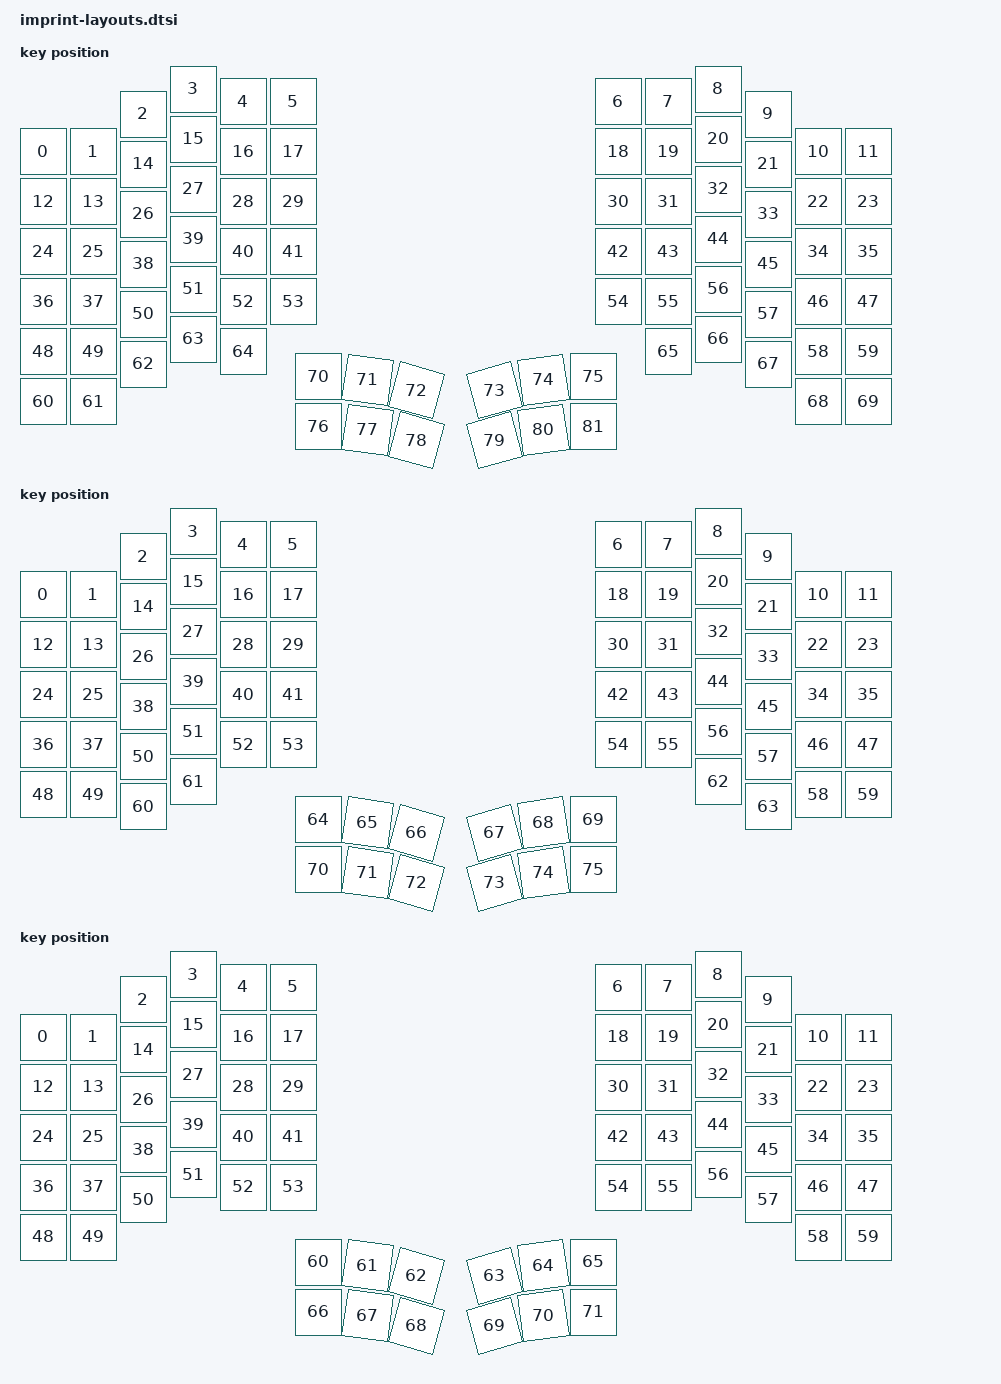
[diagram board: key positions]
#include <physical_layouts.dtsi>
/ {
    physical_layout_imprint_function_row_full_bottom_row: physical_layout_0 {
        compatible = "zmk,physical-layout";
        display-name = "Imprint Function Row (5-Key Bottom Row)";
        kscan = <&kscan0>;
        transform = <&imprint_function_row_full_bottom_row>;

        keys  //                     w   h    x    y     rot    rx    ry
            = <&key_physical_attrs 100 100    0  125       0     0     0>
            , <&key_physical_attrs 100 100  100  125       0     0     0>
            , <&key_physical_attrs 100 100  200   50       0     0     0>
            , <&key_physical_attrs 100 100  300    0       0     0     0>
            , <&key_physical_attrs 100 100  400   25       0     0     0>
            , <&key_physical_attrs 100 100  500   25       0     0     0>
            , <&key_physical_attrs 100 100 1150   25       0     0     0>
            , <&key_physical_attrs 100 100 1250   25       0     0     0>
            , <&key_physical_attrs 100 100 1350    0       0     0     0>
            , <&key_physical_attrs 100 100 1450   50       0     0     0>
            , <&key_physical_attrs 100 100 1550  125       0     0     0>
            , <&key_physical_attrs 100 100 1650  125       0     0     0>
            , <&key_physical_attrs 100 100    0  225       0     0     0>
            , <&key_physical_attrs 100 100  100  225       0     0     0>
            , <&key_physical_attrs 100 100  200  150       0     0     0>
            , <&key_physical_attrs 100 100  300  100       0     0     0>
            , <&key_physical_attrs 100 100  400  125       0     0     0>
            , <&key_physical_attrs 100 100  500  125       0     0     0>
            , <&key_physical_attrs 100 100 1150  125       0     0     0>
            , <&key_physical_attrs 100 100 1250  125       0     0     0>
            , <&key_physical_attrs 100 100 1350  100       0     0     0>
            , <&key_physical_attrs 100 100 1450  150       0     0     0>
            , <&key_physical_attrs 100 100 1550  225       0     0     0>
            , <&key_physical_attrs 100 100 1650  225       0     0     0>
            , <&key_physical_attrs 100 100    0  325       0     0     0>
            , <&key_physical_attrs 100 100  100  325       0     0     0>
            , <&key_physical_attrs 100 100  200  250       0     0     0>
            , <&key_physical_attrs 100 100  300  200       0     0     0>
            , <&key_physical_attrs 100 100  400  225       0     0     0>
            , <&key_physical_attrs 100 100  500  225       0     0     0>
            , <&key_physical_attrs 100 100 1150  225       0     0     0>
            , <&key_physical_attrs 100 100 1250  225       0     0     0>
            , <&key_physical_attrs 100 100 1350  200       0     0     0>
            , <&key_physical_attrs 100 100 1450  250       0     0     0>
            , <&key_physical_attrs 100 100 1550  325       0     0     0>
            , <&key_physical_attrs 100 100 1650  325       0     0     0>
            , <&key_physical_attrs 100 100    0  425       0     0     0>
            , <&key_physical_attrs 100 100  100  425       0     0     0>
            , <&key_physical_attrs 100 100  200  350       0     0     0>
            , <&key_physical_attrs 100 100  300  300       0     0     0>
            , <&key_physical_attrs 100 100  400  325       0     0     0>
            , <&key_physical_attrs 100 100  500  325       0     0     0>
            , <&key_physical_attrs 100 100 1150  325       0     0     0>
            , <&key_physical_attrs 100 100 1250  325       0     0     0>
            , <&key_physical_attrs 100 100 1350  300       0     0     0>
            , <&key_physical_attrs 100 100 1450  350       0     0     0>
            , <&key_physical_attrs 100 100 1550  425       0     0     0>
            , <&key_physical_attrs 100 100 1650  425       0     0     0>
            , <&key_physical_attrs 100 100    0  525       0     0     0>
            , <&key_physical_attrs 100 100  100  525       0     0     0>
            , <&key_physical_attrs 100 100  200  450       0     0     0>
            , <&key_physical_attrs 100 100  300  400       0     0     0>
            , <&key_physical_attrs 100 100  400  425       0     0     0>
            , <&key_physical_attrs 100 100  500  425       0     0     0>
            , <&key_physical_attrs 100 100 1150  425       0     0     0>
            , <&key_physical_attrs 100 100 1250  425       0     0     0>
            , <&key_physical_attrs 100 100 1350  400       0     0     0>
            , <&key_physical_attrs 100 100 1450  450       0     0     0>
            , <&key_physical_attrs 100 100 1550  525       0     0     0>
            , <&key_physical_attrs 100 100 1650  525       0     0     0>
            , <&key_physical_attrs 100 100    0  625       0     0     0>
            , <&key_physical_attrs 100 100  100  625       0     0     0>
            , <&key_physical_attrs 100 100  200  550       0     0     0>
            , <&key_physical_attrs 100 100  300  500       0     0     0>
            , <&key_physical_attrs 100 100  400  525       0     0     0>
            , <&key_physical_attrs 100 100 1250  525       0     0     0>
            , <&key_physical_attrs 100 100 1350  500       0     0     0>
            , <&key_physical_attrs 100 100 1450  550       0     0     0>
            , <&key_physical_attrs 100 100 1550  625       0     0     0>
            , <&key_physical_attrs 100 100 1650  625       0     0     0>
            , <&key_physical_attrs 100 100  550  575       0     0     0>
            , <&key_physical_attrs 100 100  550  575     800   600  1340>
            , <&key_physical_attrs 100 100  550  575    1600   600  1340>
            , <&key_physical_attrs 100 100 1100  575 (-1600)  1150  1340>
            , <&key_physical_attrs 100 100 1100  575  (-800)  1150  1340>
            , <&key_physical_attrs 100 100 1100  575       0     0     0>
            , <&key_physical_attrs 100 100  550  675       0     0     0>
            , <&key_physical_attrs 100 100  550  675     800   600  1440>
            , <&key_physical_attrs 100 100  550  675    1600   600  1440>
            , <&key_physical_attrs 100 100 1100  675 (-1600)  1150  1440>
            , <&key_physical_attrs 100 100 1100  675  (-800)  1150  1440>
            , <&key_physical_attrs 100 100 1100  675       0     0     0>
            ;
    };

    physical_layout_imprint_function_row: physical_layout_1 {
        compatible = "zmk,physical-layout";
        display-name = "Imprint Function Row (2-Key Bottom Row)";
        kscan = <&kscan0>;
        transform = <&imprint_function_row>;

        keys  //                     w   h    x    y     rot    rx    ry
            = <&key_physical_attrs 100 100    0  125       0     0     0>
            , <&key_physical_attrs 100 100  100  125       0     0     0>
            , <&key_physical_attrs 100 100  200   50       0     0     0>
            , <&key_physical_attrs 100 100  300    0       0     0     0>
            , <&key_physical_attrs 100 100  400   25       0     0     0>
            , <&key_physical_attrs 100 100  500   25       0     0     0>
            , <&key_physical_attrs 100 100 1150   25       0     0     0>
            , <&key_physical_attrs 100 100 1250   25       0     0     0>
            , <&key_physical_attrs 100 100 1350    0       0     0     0>
            , <&key_physical_attrs 100 100 1450   50       0     0     0>
            , <&key_physical_attrs 100 100 1550  125       0     0     0>
            , <&key_physical_attrs 100 100 1650  125       0     0     0>
            , <&key_physical_attrs 100 100    0  225       0     0     0>
            , <&key_physical_attrs 100 100  100  225       0     0     0>
            , <&key_physical_attrs 100 100  200  150       0     0     0>
            , <&key_physical_attrs 100 100  300  100       0     0     0>
            , <&key_physical_attrs 100 100  400  125       0     0     0>
            , <&key_physical_attrs 100 100  500  125       0     0     0>
            , <&key_physical_attrs 100 100 1150  125       0     0     0>
            , <&key_physical_attrs 100 100 1250  125       0     0     0>
            , <&key_physical_attrs 100 100 1350  100       0     0     0>
            , <&key_physical_attrs 100 100 1450  150       0     0     0>
            , <&key_physical_attrs 100 100 1550  225       0     0     0>
            , <&key_physical_attrs 100 100 1650  225       0     0     0>
            , <&key_physical_attrs 100 100    0  325       0     0     0>
            , <&key_physical_attrs 100 100  100  325       0     0     0>
            , <&key_physical_attrs 100 100  200  250       0     0     0>
            , <&key_physical_attrs 100 100  300  200       0     0     0>
            , <&key_physical_attrs 100 100  400  225       0     0     0>
            , <&key_physical_attrs 100 100  500  225       0     0     0>
            , <&key_physical_attrs 100 100 1150  225       0     0     0>
            , <&key_physical_attrs 100 100 1250  225       0     0     0>
            , <&key_physical_attrs 100 100 1350  200       0     0     0>
            , <&key_physical_attrs 100 100 1450  250       0     0     0>
            , <&key_physical_attrs 100 100 1550  325       0     0     0>
            , <&key_physical_attrs 100 100 1650  325       0     0     0>
            , <&key_physical_attrs 100 100    0  425       0     0     0>
            , <&key_physical_attrs 100 100  100  425       0     0     0>
            , <&key_physical_attrs 100 100  200  350       0     0     0>
            , <&key_physical_attrs 100 100  300  300       0     0     0>
            , <&key_physical_attrs 100 100  400  325       0     0     0>
            , <&key_physical_attrs 100 100  500  325       0     0     0>
            , <&key_physical_attrs 100 100 1150  325       0     0     0>
            , <&key_physical_attrs 100 100 1250  325       0     0     0>
            , <&key_physical_attrs 100 100 1350  300       0     0     0>
            , <&key_physical_attrs 100 100 1450  350       0     0     0>
            , <&key_physical_attrs 100 100 1550  425       0     0     0>
            , <&key_physical_attrs 100 100 1650  425       0     0     0>
            , <&key_physical_attrs 100 100    0  525       0     0     0>
            , <&key_physical_attrs 100 100  100  525       0     0     0>
            , <&key_physical_attrs 100 100  200  450       0     0     0>
            , <&key_physical_attrs 100 100  300  400       0     0     0>
            , <&key_physical_attrs 100 100  400  425       0     0     0>
            , <&key_physical_attrs 100 100  500  425       0     0     0>
            , <&key_physical_attrs 100 100 1150  425       0     0     0>
            , <&key_physical_attrs 100 100 1250  425       0     0     0>
            , <&key_physical_attrs 100 100 1350  400       0     0     0>
            , <&key_physical_attrs 100 100 1450  450       0     0     0>
            , <&key_physical_attrs 100 100 1550  525       0     0     0>
            , <&key_physical_attrs 100 100 1650  525       0     0     0>
            , <&key_physical_attrs 100 100  200  550       0     0     0>
            , <&key_physical_attrs 100 100  300  500       0     0     0>
            , <&key_physical_attrs 100 100 1350  500       0     0     0>
            , <&key_physical_attrs 100 100 1450  550       0     0     0>
            , <&key_physical_attrs 100 100  550  575       0     0     0>
            , <&key_physical_attrs 100 100  550  575     800   600  1340>
            , <&key_physical_attrs 100 100  550  575    1600   600  1340>
            , <&key_physical_attrs 100 100 1100  575 (-1600)  1150  1340>
            , <&key_physical_attrs 100 100 1100  575  (-800)  1150  1340>
            , <&key_physical_attrs 100 100 1100  575       0     0     0>
            , <&key_physical_attrs 100 100  550  675       0     0     0>
            , <&key_physical_attrs 100 100  550  675     800   600  1440>
            , <&key_physical_attrs 100 100  550  675    1600   600  1440>
            , <&key_physical_attrs 100 100 1100  675 (-1600)  1150  1440>
            , <&key_physical_attrs 100 100 1100  675  (-800)  1150  1440>
            , <&key_physical_attrs 100 100 1100  675       0     0     0>
            ;
    };

    physical_layout_imprint_function_row_no_bottom_row: physical_layout_2 {
        compatible = "zmk,physical-layout";
        display-name = "Imprint Function Row (No Bottom Row)";
        kscan = <&kscan0>;
        transform = <&imprint_function_row_no_bottom_row>;

        keys  //                     w   h    x    y     rot    rx    ry
            = <&key_physical_attrs 100 100    0  125       0     0     0>
            , <&key_physical_attrs 100 100  100  125       0     0     0>
            , <&key_physical_attrs 100 100  200   50       0     0     0>
            , <&key_physical_attrs 100 100  300    0       0     0     0>
            , <&key_physical_attrs 100 100  400   25       0     0     0>
            , <&key_physical_attrs 100 100  500   25       0     0     0>
            , <&key_physical_attrs 100 100 1150   25       0     0     0>
            , <&key_physical_attrs 100 100 1250   25       0     0     0>
            , <&key_physical_attrs 100 100 1350    0       0     0     0>
            , <&key_physical_attrs 100 100 1450   50       0     0     0>
            , <&key_physical_attrs 100 100 1550  125       0     0     0>
            , <&key_physical_attrs 100 100 1650  125       0     0     0>
            , <&key_physical_attrs 100 100    0  225       0     0     0>
            , <&key_physical_attrs 100 100  100  225       0     0     0>
            , <&key_physical_attrs 100 100  200  150       0     0     0>
            , <&key_physical_attrs 100 100  300  100       0     0     0>
            , <&key_physical_attrs 100 100  400  125       0     0     0>
            , <&key_physical_attrs 100 100  500  125       0     0     0>
            , <&key_physical_attrs 100 100 1150  125       0     0     0>
            , <&key_physical_attrs 100 100 1250  125       0     0     0>
            , <&key_physical_attrs 100 100 1350  100       0     0     0>
            , <&key_physical_attrs 100 100 1450  150       0     0     0>
            , <&key_physical_attrs 100 100 1550  225       0     0     0>
            , <&key_physical_attrs 100 100 1650  225       0     0     0>
            , <&key_physical_attrs 100 100    0  325       0     0     0>
            , <&key_physical_attrs 100 100  100  325       0     0     0>
            , <&key_physical_attrs 100 100  200  250       0     0     0>
            , <&key_physical_attrs 100 100  300  200       0     0     0>
            , <&key_physical_attrs 100 100  400  225       0     0     0>
            , <&key_physical_attrs 100 100  500  225       0     0     0>
            , <&key_physical_attrs 100 100 1150  225       0     0     0>
            , <&key_physical_attrs 100 100 1250  225       0     0     0>
            , <&key_physical_attrs 100 100 1350  200       0     0     0>
            , <&key_physical_attrs 100 100 1450  250       0     0     0>
            , <&key_physical_attrs 100 100 1550  325       0     0     0>
            , <&key_physical_attrs 100 100 1650  325       0     0     0>
            , <&key_physical_attrs 100 100    0  425       0     0     0>
            , <&key_physical_attrs 100 100  100  425       0     0     0>
            , <&key_physical_attrs 100 100  200  350       0     0     0>
            , <&key_physical_attrs 100 100  300  300       0     0     0>
            , <&key_physical_attrs 100 100  400  325       0     0     0>
            , <&key_physical_attrs 100 100  500  325       0     0     0>
            , <&key_physical_attrs 100 100 1150  325       0     0     0>
            , <&key_physical_attrs 100 100 1250  325       0     0     0>
            , <&key_physical_attrs 100 100 1350  300       0     0     0>
            , <&key_physical_attrs 100 100 1450  350       0     0     0>
            , <&key_physical_attrs 100 100 1550  425       0     0     0>
            , <&key_physical_attrs 100 100 1650  425       0     0     0>
            , <&key_physical_attrs 100 100    0  525       0     0     0>
            , <&key_physical_attrs 100 100  100  525       0     0     0>
            , <&key_physical_attrs 100 100  200  450       0     0     0>
            , <&key_physical_attrs 100 100  300  400       0     0     0>
            , <&key_physical_attrs 100 100  400  425       0     0     0>
            , <&key_physical_attrs 100 100  500  425       0     0     0>
            , <&key_physical_attrs 100 100 1150  425       0     0     0>
            , <&key_physical_attrs 100 100 1250  425       0     0     0>
            , <&key_physical_attrs 100 100 1350  400       0     0     0>
            , <&key_physical_attrs 100 100 1450  450       0     0     0>
            , <&key_physical_attrs 100 100 1550  525       0     0     0>
            , <&key_physical_attrs 100 100 1650  525       0     0     0>
            , <&key_physical_attrs 100 100  550  575       0     0     0>
            , <&key_physical_attrs 100 100  550  575     800   600  1340>
            , <&key_physical_attrs 100 100  550  575    1600   600  1340>
            , <&key_physical_attrs 100 100 1100  575 (-1600)  1150  1340>
            , <&key_physical_attrs 100 100 1100  575  (-800)  1150  1340>
            , <&key_physical_attrs 100 100 1100  575       0     0     0>
            , <&key_physical_attrs 100 100  550  675       0     0     0>
            , <&key_physical_attrs 100 100  550  675     800   600  1440>
            , <&key_physical_attrs 100 100  550  675    1600   600  1440>
            , <&key_physical_attrs 100 100 1100  675 (-1600)  1150  1440>
            , <&key_physical_attrs 100 100 1100  675  (-800)  1150  1440>
            , <&key_physical_attrs 100 100 1100  675       0     0     0>
            ;
    };

    physical_layout_imprint_number_row_full_bottom_row: physical_layout_3 {
        compatible = "zmk,physical-layout";
        display-name = "Imprint Number Row (5-key Bottom Row)";
        kscan = <&kscan0>;
        transform = <&imprint_number_row_full_bottom_row>;

        keys  //                     w   h    x    y     rot    rx    ry
            = <&key_physical_attrs 100 100    0  225       0     0     0>
            , <&key_physical_attrs 100 100  100  225       0     0     0>
            , <&key_physical_attrs 100 100  200  150       0     0     0>
            , <&key_physical_attrs 100 100  300  100       0     0     0>
            , <&key_physical_attrs 100 100  400  125       0     0     0>
            , <&key_physical_attrs 100 100  500  125       0     0     0>
            , <&key_physical_attrs 100 100 1150  125       0     0     0>
            , <&key_physical_attrs 100 100 1250  125       0     0     0>
            , <&key_physical_attrs 100 100 1350  100       0     0     0>
            , <&key_physical_attrs 100 100 1450  150       0     0     0>
            , <&key_physical_attrs 100 100 1550  225       0     0     0>
            , <&key_physical_attrs 100 100 1650  225       0     0     0>
            , <&key_physical_attrs 100 100    0  325       0     0     0>
            , <&key_physical_attrs 100 100  100  325       0     0     0>
            , <&key_physical_attrs 100 100  200  250       0     0     0>
            , <&key_physical_attrs 100 100  300  200       0     0     0>
            , <&key_physical_attrs 100 100  400  225       0     0     0>
            , <&key_physical_attrs 100 100  500  225       0     0     0>
            , <&key_physical_attrs 100 100 1150  225       0     0     0>
            , <&key_physical_attrs 100 100 1250  225       0     0     0>
            , <&key_physical_attrs 100 100 1350  200       0     0     0>
            , <&key_physical_attrs 100 100 1450  250       0     0     0>
            , <&key_physical_attrs 100 100 1550  325       0     0     0>
            , <&key_physical_attrs 100 100 1650  325       0     0     0>
            , <&key_physical_attrs 100 100    0  425       0     0     0>
            , <&key_physical_attrs 100 100  100  425       0     0     0>
            , <&key_physical_attrs 100 100  200  350       0     0     0>
            , <&key_physical_attrs 100 100  300  300       0     0     0>
            , <&key_physical_attrs 100 100  400  325       0     0     0>
            , <&key_physical_attrs 100 100  500  325       0     0     0>
            , <&key_physical_attrs 100 100 1150  325       0     0     0>
            , <&key_physical_attrs 100 100 1250  325       0     0     0>
            , <&key_physical_attrs 100 100 1350  300       0     0     0>
            , <&key_physical_attrs 100 100 1450  350       0     0     0>
            , <&key_physical_attrs 100 100 1550  425       0     0     0>
            , <&key_physical_attrs 100 100 1650  425       0     0     0>
            , <&key_physical_attrs 100 100    0  525       0     0     0>
            , <&key_physical_attrs 100 100  100  525       0     0     0>
            , <&key_physical_attrs 100 100  200  450       0     0     0>
            , <&key_physical_attrs 100 100  300  400       0     0     0>
            , <&key_physical_attrs 100 100  400  425       0     0     0>
            , <&key_physical_attrs 100 100  500  425       0     0     0>
            , <&key_physical_attrs 100 100 1150  425       0     0     0>
            , <&key_physical_attrs 100 100 1250  425       0     0     0>
            , <&key_physical_attrs 100 100 1350  400       0     0     0>
            , <&key_physical_attrs 100 100 1450  450       0     0     0>
            , <&key_physical_attrs 100 100 1550  525       0     0     0>
            , <&key_physical_attrs 100 100 1650  525       0     0     0>
            , <&key_physical_attrs 100 100    0  625       0     0     0>
            , <&key_physical_attrs 100 100  100  625       0     0     0>
            , <&key_physical_attrs 100 100  200  550       0     0     0>
            , <&key_physical_attrs 100 100  300  500       0     0     0>
            , <&key_physical_attrs 100 100  400  525       0     0     0>
            , <&key_physical_attrs 100 100 1250  525       0     0     0>
            , <&key_physical_attrs 100 100 1350  500       0     0     0>
            , <&key_physical_attrs 100 100 1450  550       0     0     0>
            , <&key_physical_attrs 100 100 1550  625       0     0     0>
            , <&key_physical_attrs 100 100 1650  625       0     0     0>
            , <&key_physical_attrs 100 100  550  575       0     0     0>
            , <&key_physical_attrs 100 100  550  575     800   600  1340>
            , <&key_physical_attrs 100 100  550  575    1600   600  1340>
            , <&key_physical_attrs 100 100 1100  575 (-1600)  1150  1340>
            , <&key_physical_attrs 100 100 1100  575  (-800)  1150  1340>
            , <&key_physical_attrs 100 100 1100  575       0     0     0>
            , <&key_physical_attrs 100 100  550  675       0     0     0>
            , <&key_physical_attrs 100 100  550  675     800   600  1440>
            , <&key_physical_attrs 100 100  550  675    1600   600  1440>
            , <&key_physical_attrs 100 100 1100  675 (-1600)  1150  1440>
            , <&key_physical_attrs 100 100 1100  675  (-800)  1150  1440>
            , <&key_physical_attrs 100 100 1100  675       0     0     0>
            ;
    };

    physical_layout_imprint_number_row: physical_layout_4 {
        compatible = "zmk,physical-layout";
        display-name = "Imprint Number Row (2-Key Bottom Row)";
        kscan = <&kscan0>;
        transform = <&imprint_number_row>;

        keys  //                     w   h    x    y     rot    rx    ry
            = <&key_physical_attrs 100 100    0  225       0     0     0>
            , <&key_physical_attrs 100 100  100  225       0     0     0>
            , <&key_physical_attrs 100 100  200  150       0     0     0>
            , <&key_physical_attrs 100 100  300  100       0     0     0>
            , <&key_physical_attrs 100 100  400  125       0     0     0>
            , <&key_physical_attrs 100 100  500  125       0     0     0>
            , <&key_physical_attrs 100 100 1150  125       0     0     0>
            , <&key_physical_attrs 100 100 1250  125       0     0     0>
            , <&key_physical_attrs 100 100 1350  100       0     0     0>
            , <&key_physical_attrs 100 100 1450  150       0     0     0>
            , <&key_physical_attrs 100 100 1550  225       0     0     0>
            , <&key_physical_attrs 100 100 1650  225       0     0     0>
            , <&key_physical_attrs 100 100    0  325       0     0     0>
            , <&key_physical_attrs 100 100  100  325       0     0     0>
            , <&key_physical_attrs 100 100  200  250       0     0     0>
            , <&key_physical_attrs 100 100  300  200       0     0     0>
            , <&key_physical_attrs 100 100  400  225       0     0     0>
            , <&key_physical_attrs 100 100  500  225       0     0     0>
            , <&key_physical_attrs 100 100 1150  225       0     0     0>
            , <&key_physical_attrs 100 100 1250  225       0     0     0>
            , <&key_physical_attrs 100 100 1350  200       0     0     0>
            , <&key_physical_attrs 100 100 1450  250       0     0     0>
            , <&key_physical_attrs 100 100 1550  325       0     0     0>
            , <&key_physical_attrs 100 100 1650  325       0     0     0>
            , <&key_physical_attrs 100 100    0  425       0     0     0>
            , <&key_physical_attrs 100 100  100  425       0     0     0>
            , <&key_physical_attrs 100 100  200  350       0     0     0>
            , <&key_physical_attrs 100 100  300  300       0     0     0>
            , <&key_physical_attrs 100 100  400  325       0     0     0>
            , <&key_physical_attrs 100 100  500  325       0     0     0>
            , <&key_physical_attrs 100 100 1150  325       0     0     0>
            , <&key_physical_attrs 100 100 1250  325       0     0     0>
            , <&key_physical_attrs 100 100 1350  300       0     0     0>
            , <&key_physical_attrs 100 100 1450  350       0     0     0>
            , <&key_physical_attrs 100 100 1550  425       0     0     0>
            , <&key_physical_attrs 100 100 1650  425       0     0     0>
            , <&key_physical_attrs 100 100    0  525       0     0     0>
            , <&key_physical_attrs 100 100  100  525       0     0     0>
            , <&key_physical_attrs 100 100  200  450       0     0     0>
            , <&key_physical_attrs 100 100  300  400       0     0     0>
            , <&key_physical_attrs 100 100  400  425       0     0     0>
            , <&key_physical_attrs 100 100  500  425       0     0     0>
            , <&key_physical_attrs 100 100 1150  425       0     0     0>
            , <&key_physical_attrs 100 100 1250  425       0     0     0>
            , <&key_physical_attrs 100 100 1350  400       0     0     0>
            , <&key_physical_attrs 100 100 1450  450       0     0     0>
            , <&key_physical_attrs 100 100 1550  525       0     0     0>
            , <&key_physical_attrs 100 100 1650  525       0     0     0>
            , <&key_physical_attrs 100 100  200  550       0     0     0>
            , <&key_physical_attrs 100 100  300  500       0     0     0>
            , <&key_physical_attrs 100 100 1350  500       0     0     0>
            , <&key_physical_attrs 100 100 1450  550       0     0     0>
            , <&key_physical_attrs 100 100  550  575       0     0     0>
            , <&key_physical_attrs 100 100  550  575     800   600  1340>
            , <&key_physical_attrs 100 100  550  575    1600   600  1340>
            , <&key_physical_attrs 100 100 1100  575 (-1600)  1150  1340>
            , <&key_physical_attrs 100 100 1100  575  (-800)  1150  1340>
            , <&key_physical_attrs 100 100 1100  575       0     0     0>
            , <&key_physical_attrs 100 100  550  675       0     0     0>
            , <&key_physical_attrs 100 100  550  675     800   600  1440>
            , <&key_physical_attrs 100 100  550  675    1600   600  1440>
            , <&key_physical_attrs 100 100 1100  675 (-1600)  1150  1440>
            , <&key_physical_attrs 100 100 1100  675  (-800)  1150  1440>
            , <&key_physical_attrs 100 100 1100  675       0     0     0>
            ;
    };

    physical_layout_imprint_number_row_no_bottom_row: physical_layout_5 {
        compatible = "zmk,physical-layout";
        display-name = "Imprint Number Row (No Bottom Row)";
        kscan = <&kscan0>;
        transform = <&imprint_number_row_no_bottom_row>;

        keys  //                     w   h    x    y     rot    rx    ry
            = <&key_physical_attrs 100 100    0  225       0     0     0>
            , <&key_physical_attrs 100 100  100  225       0     0     0>
            , <&key_physical_attrs 100 100  200  150       0     0     0>
            , <&key_physical_attrs 100 100  300  100       0     0     0>
            , <&key_physical_attrs 100 100  400  125       0     0     0>
            , <&key_physical_attrs 100 100  500  125       0     0     0>
            , <&key_physical_attrs 100 100 1150  125       0     0     0>
            , <&key_physical_attrs 100 100 1250  125       0     0     0>
            , <&key_physical_attrs 100 100 1350  100       0     0     0>
            , <&key_physical_attrs 100 100 1450  150       0     0     0>
            , <&key_physical_attrs 100 100 1550  225       0     0     0>
            , <&key_physical_attrs 100 100 1650  225       0     0     0>
            , <&key_physical_attrs 100 100    0  325       0     0     0>
            , <&key_physical_attrs 100 100  100  325       0     0     0>
            , <&key_physical_attrs 100 100  200  250       0     0     0>
            , <&key_physical_attrs 100 100  300  200       0     0     0>
            , <&key_physical_attrs 100 100  400  225       0     0     0>
            , <&key_physical_attrs 100 100  500  225       0     0     0>
            , <&key_physical_attrs 100 100 1150  225       0     0     0>
            , <&key_physical_attrs 100 100 1250  225       0     0     0>
            , <&key_physical_attrs 100 100 1350  200       0     0     0>
            , <&key_physical_attrs 100 100 1450  250       0     0     0>
            , <&key_physical_attrs 100 100 1550  325       0     0     0>
            , <&key_physical_attrs 100 100 1650  325       0     0     0>
            , <&key_physical_attrs 100 100    0  425       0     0     0>
            , <&key_physical_attrs 100 100  100  425       0     0     0>
            , <&key_physical_attrs 100 100  200  350       0     0     0>
            , <&key_physical_attrs 100 100  300  300       0     0     0>
            , <&key_physical_attrs 100 100  400  325       0     0     0>
            , <&key_physical_attrs 100 100  500  325       0     0     0>
            , <&key_physical_attrs 100 100 1150  325       0     0     0>
            , <&key_physical_attrs 100 100 1250  325       0     0     0>
            , <&key_physical_attrs 100 100 1350  300       0     0     0>
            , <&key_physical_attrs 100 100 1450  350       0     0     0>
            , <&key_physical_attrs 100 100 1550  425       0     0     0>
            , <&key_physical_attrs 100 100 1650  425       0     0     0>
            , <&key_physical_attrs 100 100    0  525       0     0     0>
            , <&key_physical_attrs 100 100  100  525       0     0     0>
            , <&key_physical_attrs 100 100  200  450       0     0     0>
            , <&key_physical_attrs 100 100  300  400       0     0     0>
            , <&key_physical_attrs 100 100  400  425       0     0     0>
            , <&key_physical_attrs 100 100  500  425       0     0     0>
            , <&key_physical_attrs 100 100 1150  425       0     0     0>
            , <&key_physical_attrs 100 100 1250  425       0     0     0>
            , <&key_physical_attrs 100 100 1350  400       0     0     0>
            , <&key_physical_attrs 100 100 1450  450       0     0     0>
            , <&key_physical_attrs 100 100 1550  525       0     0     0>
            , <&key_physical_attrs 100 100 1650  525       0     0     0>
            , <&key_physical_attrs 100 100  550  575       0     0     0>
            , <&key_physical_attrs 100 100  550  575     800   600  1340>
            , <&key_physical_attrs 100 100  550  575    1600   600  1340>
            , <&key_physical_attrs 100 100 1100  575 (-1600)  1150  1340>
            , <&key_physical_attrs 100 100 1100  575  (-800)  1150  1340>
            , <&key_physical_attrs 100 100 1100  575       0     0     0>
            , <&key_physical_attrs 100 100  550  675       0     0     0>
            , <&key_physical_attrs 100 100  550  675     800   600  1440>
            , <&key_physical_attrs 100 100  550  675    1600   600  1440>
            , <&key_physical_attrs 100 100 1100  675 (-1600)  1150  1440>
            , <&key_physical_attrs 100 100 1100  675  (-800)  1150  1440>
            , <&key_physical_attrs 100 100 1100  675       0     0     0>
            ;
    };

    physical_layout_imprint_letters_only_full_bottom_row: physical_layout_6 {
        compatible = "zmk,physical-layout";
        display-name = "Imprint Letters Only (5-key Bottom Row)";
        kscan = <&kscan0>;
        transform = <&imprint_letters_only_full_bottom_row>;

        keys  //                     w   h    x    y     rot    rx    ry
            = <&key_physical_attrs 100 100    0  325       0     0     0>
            , <&key_physical_attrs 100 100  100  325       0     0     0>
            , <&key_physical_attrs 100 100  200  250       0     0     0>
            , <&key_physical_attrs 100 100  300  200       0     0     0>
            , <&key_physical_attrs 100 100  400  225       0     0     0>
            , <&key_physical_attrs 100 100  500  225       0     0     0>
            , <&key_physical_attrs 100 100 1150  225       0     0     0>
            , <&key_physical_attrs 100 100 1250  225       0     0     0>
            , <&key_physical_attrs 100 100 1350  200       0     0     0>
            , <&key_physical_attrs 100 100 1450  250       0     0     0>
            , <&key_physical_attrs 100 100 1550  325       0     0     0>
            , <&key_physical_attrs 100 100 1650  325       0     0     0>
            , <&key_physical_attrs 100 100    0  425       0     0     0>
            , <&key_physical_attrs 100 100  100  425       0     0     0>
            , <&key_physical_attrs 100 100  200  350       0     0     0>
            , <&key_physical_attrs 100 100  300  300       0     0     0>
            , <&key_physical_attrs 100 100  400  325       0     0     0>
            , <&key_physical_attrs 100 100  500  325       0     0     0>
            , <&key_physical_attrs 100 100 1150  325       0     0     0>
            , <&key_physical_attrs 100 100 1250  325       0     0     0>
            , <&key_physical_attrs 100 100 1350  300       0     0     0>
            , <&key_physical_attrs 100 100 1450  350       0     0     0>
            , <&key_physical_attrs 100 100 1550  425       0     0     0>
            , <&key_physical_attrs 100 100 1650  425       0     0     0>
            , <&key_physical_attrs 100 100    0  525       0     0     0>
            , <&key_physical_attrs 100 100  100  525       0     0     0>
            , <&key_physical_attrs 100 100  200  450       0     0     0>
            , <&key_physical_attrs 100 100  300  400       0     0     0>
            , <&key_physical_attrs 100 100  400  425       0     0     0>
            , <&key_physical_attrs 100 100  500  425       0     0     0>
            , <&key_physical_attrs 100 100 1150  425       0     0     0>
            , <&key_physical_attrs 100 100 1250  425       0     0     0>
            , <&key_physical_attrs 100 100 1350  400       0     0     0>
            , <&key_physical_attrs 100 100 1450  450       0     0     0>
            , <&key_physical_attrs 100 100 1550  525       0     0     0>
            , <&key_physical_attrs 100 100 1650  525       0     0     0>
            , <&key_physical_attrs 100 100    0  625       0     0     0>
            , <&key_physical_attrs 100 100  100  625       0     0     0>
            , <&key_physical_attrs 100 100  200  550       0     0     0>
            , <&key_physical_attrs 100 100  300  500       0     0     0>
            , <&key_physical_attrs 100 100  400  525       0     0     0>
            , <&key_physical_attrs 100 100 1250  525       0     0     0>
            , <&key_physical_attrs 100 100 1350  500       0     0     0>
            , <&key_physical_attrs 100 100 1450  550       0     0     0>
            , <&key_physical_attrs 100 100 1550  625       0     0     0>
            , <&key_physical_attrs 100 100 1650  625       0     0     0>
            , <&key_physical_attrs 100 100  550  575       0     0     0>
            , <&key_physical_attrs 100 100  550  575     800   600  1340>
            , <&key_physical_attrs 100 100  550  575    1600   600  1340>
            , <&key_physical_attrs 100 100 1100  575 (-1600)  1150  1340>
            , <&key_physical_attrs 100 100 1100  575  (-800)  1150  1340>
            , <&key_physical_attrs 100 100 1100  575       0     0     0>
            , <&key_physical_attrs 100 100  550  675       0     0     0>
            , <&key_physical_attrs 100 100  550  675     800   600  1440>
            , <&key_physical_attrs 100 100  550  675    1600   600  1440>
            , <&key_physical_attrs 100 100 1100  675 (-1600)  1150  1440>
            , <&key_physical_attrs 100 100 1100  675  (-800)  1150  1440>
            , <&key_physical_attrs 100 100 1100  675       0     0     0>
            ;
    };

    physical_layout_imprint_letters_only: physical_layout_7 {
        compatible = "zmk,physical-layout";
        display-name = "Imprint Letters Only (2-Key Bottom Row)";
        kscan = <&kscan0>;
        transform = <&imprint_letters_only>;

        keys  //                     w   h    x    y     rot    rx    ry
            = <&key_physical_attrs 100 100    0  325       0     0     0>
            , <&key_physical_attrs 100 100  100  325       0     0     0>
            , <&key_physical_attrs 100 100  200  250       0     0     0>
            , <&key_physical_attrs 100 100  300  200       0     0     0>
            , <&key_physical_attrs 100 100  400  225       0     0     0>
            , <&key_physical_attrs 100 100  500  225       0     0     0>
            , <&key_physical_attrs 100 100 1150  225       0     0     0>
            , <&key_physical_attrs 100 100 1250  225       0     0     0>
            , <&key_physical_attrs 100 100 1350  200       0     0     0>
            , <&key_physical_attrs 100 100 1450  250       0     0     0>
            , <&key_physical_attrs 100 100 1550  325       0     0     0>
            , <&key_physical_attrs 100 100 1650  325       0     0     0>
            , <&key_physical_attrs 100 100    0  425       0     0     0>
            , <&key_physical_attrs 100 100  100  425       0     0     0>
            , <&key_physical_attrs 100 100  200  350       0     0     0>
            , <&key_physical_attrs 100 100  300  300       0     0     0>
            , <&key_physical_attrs 100 100  400  325       0     0     0>
            , <&key_physical_attrs 100 100  500  325       0     0     0>
            , <&key_physical_attrs 100 100 1150  325       0     0     0>
            , <&key_physical_attrs 100 100 1250  325       0     0     0>
            , <&key_physical_attrs 100 100 1350  300       0     0     0>
            , <&key_physical_attrs 100 100 1450  350       0     0     0>
            , <&key_physical_attrs 100 100 1550  425       0     0     0>
            , <&key_physical_attrs 100 100 1650  425       0     0     0>
            , <&key_physical_attrs 100 100    0  525       0     0     0>
            , <&key_physical_attrs 100 100  100  525       0     0     0>
            , <&key_physical_attrs 100 100  200  450       0     0     0>
            , <&key_physical_attrs 100 100  300  400       0     0     0>
            , <&key_physical_attrs 100 100  400  425       0     0     0>
            , <&key_physical_attrs 100 100  500  425       0     0     0>
            , <&key_physical_attrs 100 100 1150  425       0     0     0>
            , <&key_physical_attrs 100 100 1250  425       0     0     0>
            , <&key_physical_attrs 100 100 1350  400       0     0     0>
            , <&key_physical_attrs 100 100 1450  450       0     0     0>
            , <&key_physical_attrs 100 100 1550  525       0     0     0>
            , <&key_physical_attrs 100 100 1650  525       0     0     0>
            , <&key_physical_attrs 100 100  200  550       0     0     0>
            , <&key_physical_attrs 100 100  300  500       0     0     0>
            , <&key_physical_attrs 100 100 1350  500       0     0     0>
            , <&key_physical_attrs 100 100 1450  550       0     0     0>
            , <&key_physical_attrs 100 100  550  575       0     0     0>
            , <&key_physical_attrs 100 100  550  575     800   600  1340>
            , <&key_physical_attrs 100 100  550  575    1600   600  1340>
            , <&key_physical_attrs 100 100 1100  575 (-1600)  1150  1340>
            , <&key_physical_attrs 100 100 1100  575  (-800)  1150  1340>
            , <&key_physical_attrs 100 100 1100  575       0     0     0>
            , <&key_physical_attrs 100 100  550  675       0     0     0>
            , <&key_physical_attrs 100 100  550  675     800   600  1440>
            , <&key_physical_attrs 100 100  550  675    1600   600  1440>
            , <&key_physical_attrs 100 100 1100  675 (-1600)  1150  1440>
            , <&key_physical_attrs 100 100 1100  675  (-800)  1150  1440>
            , <&key_physical_attrs 100 100 1100  675       0     0     0>
            ;
    };

    physical_layout_imprint_letters_only_no_bottom_row: physical_layout_8 {
        compatible = "zmk,physical-layout";
        display-name = "Imprint Letters Only (No Bottom Row)";
        kscan = <&kscan0>;
        transform = <&imprint_letters_only_no_bottom_row>;

        keys  //                     w   h    x    y     rot    rx    ry
            = <&key_physical_attrs 100 100    0  325       0     0     0>
            , <&key_physical_attrs 100 100  100  325       0     0     0>
            , <&key_physical_attrs 100 100  200  250       0     0     0>
            , <&key_physical_attrs 100 100  300  200       0     0     0>
            , <&key_physical_attrs 100 100  400  225       0     0     0>
            , <&key_physical_attrs 100 100  500  225       0     0     0>
            , <&key_physical_attrs 100 100 1150  225       0     0     0>
            , <&key_physical_attrs 100 100 1250  225       0     0     0>
            , <&key_physical_attrs 100 100 1350  200       0     0     0>
            , <&key_physical_attrs 100 100 1450  250       0     0     0>
            , <&key_physical_attrs 100 100 1550  325       0     0     0>
            , <&key_physical_attrs 100 100 1650  325       0     0     0>
            , <&key_physical_attrs 100 100    0  425       0     0     0>
            , <&key_physical_attrs 100 100  100  425       0     0     0>
            , <&key_physical_attrs 100 100  200  350       0     0     0>
            , <&key_physical_attrs 100 100  300  300       0     0     0>
            , <&key_physical_attrs 100 100  400  325       0     0     0>
            , <&key_physical_attrs 100 100  500  325       0     0     0>
            , <&key_physical_attrs 100 100 1150  325       0     0     0>
            , <&key_physical_attrs 100 100 1250  325       0     0     0>
            , <&key_physical_attrs 100 100 1350  300       0     0     0>
            , <&key_physical_attrs 100 100 1450  350       0     0     0>
            , <&key_physical_attrs 100 100 1550  425       0     0     0>
            , <&key_physical_attrs 100 100 1650  425       0     0     0>
            , <&key_physical_attrs 100 100    0  525       0     0     0>
            , <&key_physical_attrs 100 100  100  525       0     0     0>
            , <&key_physical_attrs 100 100  200  450       0     0     0>
            , <&key_physical_attrs 100 100  300  400       0     0     0>
            , <&key_physical_attrs 100 100  400  425       0     0     0>
            , <&key_physical_attrs 100 100  500  425       0     0     0>
            , <&key_physical_attrs 100 100 1150  425       0     0     0>
            , <&key_physical_attrs 100 100 1250  425       0     0     0>
            , <&key_physical_attrs 100 100 1350  400       0     0     0>
            , <&key_physical_attrs 100 100 1450  450       0     0     0>
            , <&key_physical_attrs 100 100 1550  525       0     0     0>
            , <&key_physical_attrs 100 100 1650  525       0     0     0>
            , <&key_physical_attrs 100 100  550  575       0     0     0>
            , <&key_physical_attrs 100 100  550  575     800   600  1340>
            , <&key_physical_attrs 100 100  550  575    1600   600  1340>
            , <&key_physical_attrs 100 100 1100  575 (-1600)  1150  1340>
            , <&key_physical_attrs 100 100 1100  575  (-800)  1150  1340>
            , <&key_physical_attrs 100 100 1100  575       0     0     0>
            , <&key_physical_attrs 100 100  550  675       0     0     0>
            , <&key_physical_attrs 100 100  550  675     800   600  1440>
            , <&key_physical_attrs 100 100  550  675    1600   600  1440>
            , <&key_physical_attrs 100 100 1100  675 (-1600)  1150  1440>
            , <&key_physical_attrs 100 100 1100  675  (-800)  1150  1440>
            , <&key_physical_attrs 100 100 1100  675       0     0     0>
            ;
    };

    // Explicit cross-layout mapping for the 12 thumb-cluster keys.
    //
    // The fanned thumb arcs give all three keys of an arc the same x/y — they
    // differ only in rotation. ZMK's fallback position mapping (used whenever
    // the runtime-selected layout differs from the default one) matches keys
    // across layouts by exact x/y ONLY, so without this map every thumb-arc
    // key aliases to the first key of its arc: ZMK Studio edits then read and
    // write the wrong key ("ghost" keymap updates confined to the thumb
    // clusters). The grid keys all have unique x/y and are intentionally
    // aligned across layouts, so they are left to the coordinate fallback
    // (`complete` stays off).
    //
    // The thumb keys are the last 12 entries of every layout above, in the
    // same order; each `positions` array below lists their key-position
    // indices (keys_len - 12 .. keys_len - 1). Entry N of every array refers
    // to the same physical key. If a layout gains or loses keys, update its
    // row here.
    imprint_position_map: position_map {
        compatible = "zmk,physical-layout-position-map";

        function_row_full_bottom_row {
            physical-layout = <&physical_layout_imprint_function_row_full_bottom_row>;
            positions = <70 71 72 73 74 75 76 77 78 79 80 81>;
        };

        function_row {
            physical-layout = <&physical_layout_imprint_function_row>;
            positions = <64 65 66 67 68 69 70 71 72 73 74 75>;
        };

        function_row_no_bottom_row {
            physical-layout = <&physical_layout_imprint_function_row_no_bottom_row>;
            positions = <60 61 62 63 64 65 66 67 68 69 70 71>;
        };

        number_row_full_bottom_row {
            physical-layout = <&physical_layout_imprint_number_row_full_bottom_row>;
            positions = <58 59 60 61 62 63 64 65 66 67 68 69>;
        };

        number_row {
            physical-layout = <&physical_layout_imprint_number_row>;
            positions = <52 53 54 55 56 57 58 59 60 61 62 63>;
        };

        number_row_no_bottom_row {
            physical-layout = <&physical_layout_imprint_number_row_no_bottom_row>;
            positions = <48 49 50 51 52 53 54 55 56 57 58 59>;
        };

        letters_only_full_bottom_row {
            physical-layout = <&physical_layout_imprint_letters_only_full_bottom_row>;
            positions = <46 47 48 49 50 51 52 53 54 55 56 57>;
        };

        letters_only {
            physical-layout = <&physical_layout_imprint_letters_only>;
            positions = <40 41 42 43 44 45 46 47 48 49 50 51>;
        };

        letters_only_no_bottom_row {
            physical-layout = <&physical_layout_imprint_letters_only_no_bottom_row>;
            positions = <36 37 38 39 40 41 42 43 44 45 46 47>;
        };
    };
};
